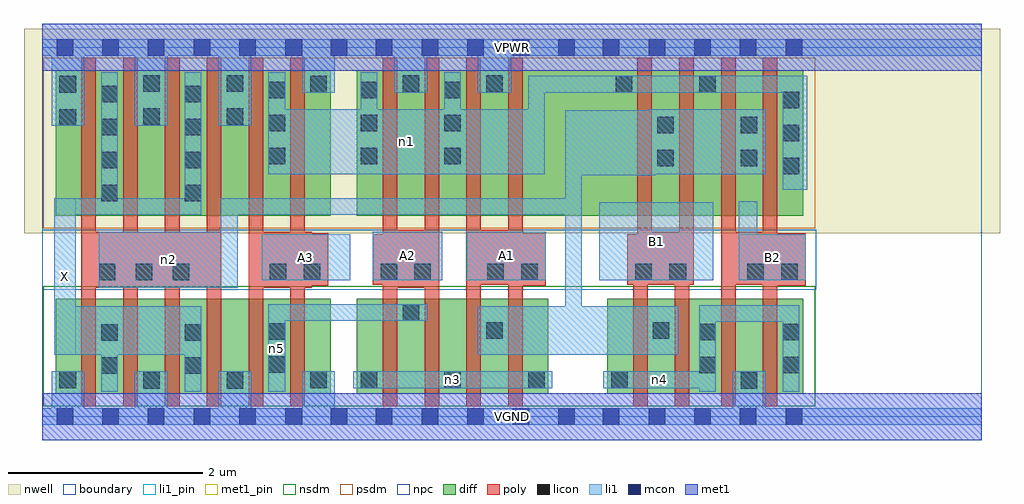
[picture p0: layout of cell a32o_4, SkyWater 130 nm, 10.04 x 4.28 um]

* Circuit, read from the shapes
.subckt a32o_4 A1 A2 A3 B1 B2 VGND VPWR X n1 n2 n3 n4 n5
XM1 X n2 VGND VSUBS sky130_fd_pr__nfet_01v8 w=0.98 l=0.15 m=4
XM2 n5 A3 VGND VSUBS sky130_fd_pr__nfet_01v8 w=0.98 l=0.15 m=2
XM3 n5 A2 n3 VSUBS sky130_fd_pr__nfet_01v8 w=0.98 l=0.15 m=2
XM4 n2 A1 n3 VSUBS sky130_fd_pr__nfet_01v8 w=0.98 l=0.15 m=2
XM5 n2 B1 n4 VSUBS sky130_fd_pr__nfet_01v8 w=0.98 l=0.15 m=2
XM6 VGND B2 n4 VSUBS sky130_fd_pr__nfet_01v8 w=0.98 l=0.15 m=2
XM7 X n2 VPWR n6 sky130_fd_pr__pfet_01v8 w=1.5 l=0.15 m=4
XM8 n1 A3 VPWR n6 sky130_fd_pr__pfet_01v8 w=1.5 l=0.15 m=2
XM9 VPWR A2 n1 n6 sky130_fd_pr__pfet_01v8 w=1.5 l=0.15 m=2
XM10 VPWR A1 n1 n6 sky130_fd_pr__pfet_01v8 w=1.5 l=0.15 m=2
XM11 n2 B1 n1 n6 sky130_fd_pr__pfet_01v8 w=1.5 l=0.15 m=2
XM12 n2 B2 n1 n6 sky130_fd_pr__pfet_01v8 w=1.5 l=0.15 m=2
.ends

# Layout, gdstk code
import gdstk
lib = gdstk.Library(unit=1e-6, precision=1e-09)
def R(c, l, rs):  # rectangles x0, y0, x1, y1
    for r in rs: c.add(gdstk.rectangle(r[:2], r[2:], *l))
def A(c, l, x, y, w, h, nx, ny, dx, dy):  # array of equal rectangles
    R(c, l, [(x+i*dx, y+j*dy, x+i*dx+w, y+j*dy+h) for i in range(nx) for j in range(ny)])
nwell = (64, 20)
diff = (65, 20)
poly = (66, 20)
licon = (66, 44)
li1_pin = (67, 16)
li1 = (67, 20)
mcon = (67, 44)
met1_pin = (68, 16)
met1 = (68, 20)
nsdm = (93, 44)
psdm = (94, 20)
npc = (95, 20)
boundary = (235, 4)

a32o_4 = lib.new_cell('a32o_4')
R(a32o_4, nwell, [(-0.19,1.885,9.85,3.99), (0,1.885,9.66,3.99)])
R(a32o_4, diff, [(0.135,0.235,2.965,1.215), (3.235,0.235,5.205,1.215), (5.81,0.235,7.825,1.215), (0.135,2.065,2.965,3.565), (3.235,2.065,7.825,3.565)])
A(a32o_4, poly, 0.4, 0.105, 0.15, 3.59, 6, 1, 0.43, 0)
A(a32o_4, poly, 3.5, 0.105, 0.15, 3.59, 4, 1, 0.43, 0)
R(a32o_4, poly, [(6.075,0.105,6.225,1.875), (6.505,0.105,6.55,1.905), (6.55,0.105,6.655,3.695), (6.98,0.105,7.13,3.695), (7.41,0.105,7.56,3.695), (0.4,1.325,1.84,1.905), (2.12,1.325,2.77,1.905), (3.5,1.325,4.08,1.925), (2.12,1.345,2.94,1.885), (4.79,1.345,5.175,1.885), (7.41,1.345,7.85,1.885), (3.395,1.355,4.08,1.875), (4.36,1.355,4.94,1.925), (6.015,1.355,6.7,1.875), (6.12,1.355,6.27,3.695), (6.12,1.355,6.7,1.905), (6.55,1.355,6.7,3.695), (6.98,1.355,7.56,1.905)])
A(a32o_4, licon, 3.275, 0.295, 0.17, 0.17, 3, 1, 0.86, 0)
A(a32o_4, licon, 0.58, 1.405, 0.17, 0.17, 3, 1, 0.38, 0)
A(a32o_4, licon, 0.605, 2.215, 0.17, 0.17, 1, 4, 0, 0.34)
A(a32o_4, licon, 1.465, 2.215, 0.17, 0.17, 1, 4, 0, 0.34)
A(a32o_4, licon, 7.615, 2.495, 0.17, 0.17, 1, 3, 0, 0.34)
A(a32o_4, licon, 2.325, 2.595, 0.17, 0.17, 1, 3, 0, 0.34)
A(a32o_4, licon, 3.275, 2.595, 0.17, 0.17, 1, 3, 0, 0.34)
A(a32o_4, licon, 4.135, 2.595, 0.17, 0.17, 1, 3, 0, 0.34)
R(a32o_4, licon, [(1.035,0.285,1.205,0.455), (1.895,0.285,2.065,0.455), (7.185,0.285,7.355,0.455), (0.175,0.295,0.345,0.465), (2.755,0.295,2.925,0.465), (5.85,0.295,6.02,0.465), (0.605,0.44,0.775,0.61), (1.465,0.44,1.635,0.61), (6.755,0.445,6.925,0.615), (7.615,0.445,7.785,0.615), (2.325,0.45,2.495,0.62), (0.605,0.78,0.775,0.95), (1.465,0.78,1.635,0.95), (6.755,0.785,6.925,0.955), (7.615,0.785,7.785,0.955), (2.325,0.79,2.495,0.96), (4.565,0.8,4.735,0.97), (6.28,0.8,6.45,0.97), (3.705,0.985,3.875,1.155), (2.34,1.405,2.51,1.575), (2.69,1.405,2.86,1.575), (3.48,1.405,3.65,1.575), (3.825,1.405,3.995,1.575), (4.575,1.405,4.745,1.575), (4.925,1.405,5.095,1.575), (6.1,1.405,6.27,1.575), (6.45,1.405,6.62,1.575), (7.25,1.405,7.42,1.575), (7.6,1.405,7.77,1.575), (6.325,2.575,6.495,2.745), (7.185,2.575,7.355,2.745), (6.325,2.915,6.495,3.085), (7.185,2.915,7.355,3.085), (0.175,2.995,0.345,3.165), (1.035,3.005,1.205,3.175), (1.895,3.005,2.065,3.175), (0.175,3.335,0.345,3.505), (2.755,3.335,2.925,3.505), (5.895,3.335,6.065,3.505), (6.755,3.335,6.925,3.505), (1.035,3.345,1.205,3.515), (1.895,3.345,2.065,3.515), (3.705,3.345,3.875,3.515), (4.565,3.345,4.735,3.515)])
R(a32o_4, li1_pin, [(0.12,0.635,0.34,2.245), (2.255,1.405,3.165,1.875), (3.395,1.405,4.11,1.905), (4.365,1.405,5.175,1.905), (5.73,1.405,6.9,2.205), (7.16,1.405,7.85,1.875)])
R(a32o_4, li1, [(0,-0.085,9.66,0.085), (0.095,-0.085,0.43,0.465), (0.95,-0.085,1.29,0.465), (1.81,-0.085,2.15,0.465), (2.67,-0.085,3.005,0.465), (7.1,-0.085,7.44,0.465), (0.605,0.255,0.775,1.135), (1.465,0.255,1.635,1.135), (2.325,0.255,2.495,1.155), (6.755,0.255,6.925,1.145), (7.615,0.255,7.785,1.145), (3.195,0.295,5.245,0.465), (5.77,0.295,6.925,0.465), (0.12,0.635,1.635,1.135), (0.12,0.635,0.34,2.245), (4.48,0.635,6.54,1.135), (5.38,0.635,5.55,3.155), (6.755,0.975,7.785,1.145), (2.325,0.985,3.96,1.155), (0.58,1.325,2.01,1.905), (1.835,1.325,2.01,2.245), (2.255,1.405,3.165,1.875), (3.395,1.405,4.11,1.905), (4.365,1.405,5.175,1.905), (5.73,1.405,6.9,2.205), (7.16,1.405,7.85,1.875), (7.16,1.405,7.355,2.215), (0.12,2.075,1.635,2.245), (0.605,2.075,0.775,3.545), (1.465,2.075,1.635,3.545), (1.835,2.075,5.55,2.245), (7.615,2.335,7.865,3.505), (5.38,2.485,6.31,2.495), (2.325,2.495,5.165,3.165), (2.325,2.495,2.495,3.545), (3.275,2.495,3.445,3.545), (4.135,2.495,4.305,3.545), (4.995,2.495,5.165,3.505), (5.38,2.495,7.44,3.155), (6.24,2.495,7.44,3.165), (0.095,2.995,0.43,3.885), (0.95,2.995,1.29,3.885), (1.81,2.995,2.15,3.885), (2.67,3.335,3.005,3.885), (3.62,3.335,3.96,3.885), (4.48,3.335,4.82,3.885), (4.995,3.335,7.865,3.505), (0,3.715,9.66,3.885)])
A(a32o_4, mcon, 0.145, -0.085, 0.17, 0.17, 5, 2, 0.47, 3.8)
A(a32o_4, mcon, 2.5, -0.085, 0.17, 0.17, 3, 2, 0.465, 3.8)
A(a32o_4, mcon, 3.9, -0.085, 0.17, 0.17, 3, 2, 0.47, 3.8)
A(a32o_4, mcon, 5.765, -0.085, 0.17, 0.17, 5, 2, 0.47, 3.8)
R(a32o_4, mcon, [(5.305,-0.085,5.475,0.085), (5.305,3.715,5.475,3.885)])
R(a32o_4, met1_pin, [(0,-0.24,9.66,0.24), (0,3.56,9.66,4.04)])
R(a32o_4, met1, [(0,-0.24,9.66,0.24), (0,3.56,9.66,4.04)])
R(a32o_4, nsdm, [(0.01,0.11,7.95,1.34)])
R(a32o_4, psdm, [(0.01,1.94,7.95,3.69)])
R(a32o_4, npc, [(0,1.305,7.96,1.925)])
R(a32o_4, boundary, [(0,0,9.66,3.8)])
a32o_4.add(gdstk.Label('A1', (4.77,1.655), layer=67, texttype=5))
a32o_4.add(gdstk.Label('A2', (3.752,1.655), layer=67, texttype=5))
a32o_4.add(gdstk.Label('A3', (2.71,1.64), layer=67, texttype=5))
a32o_4.add(gdstk.Label('B1', (6.315,1.805), layer=67, texttype=5))
a32o_4.add(gdstk.Label('B2', (7.505,1.64), layer=67, texttype=5))
a32o_4.add(gdstk.Label('X', (0.23,1.44), layer=67, texttype=5))
a32o_4.add(gdstk.Label('n3', (4.22,0.38), layer=67, texttype=5))
a32o_4.add(gdstk.Label('n4', (6.347,0.38), layer=67, texttype=5))
a32o_4.add(gdstk.Label('n5', (2.41,0.705), layer=67, texttype=5))
a32o_4.add(gdstk.Label('n2', (1.295,1.615), layer=67, texttype=5))
a32o_4.add(gdstk.Label('n1', (3.745,2.83), layer=67, texttype=5))
a32o_4.add(gdstk.Label('VPWR', (4.83,3.8), layer=68, texttype=5))
a32o_4.add(gdstk.Label('VGND', (4.83,0), layer=68, texttype=5))
a32o_4.add(gdstk.Label('A1', (4.77,1.655), layer=67, texttype=16))
a32o_4.add(gdstk.Label('A2', (3.752,1.655), layer=67, texttype=16))
a32o_4.add(gdstk.Label('A3', (2.71,1.64), layer=67, texttype=16))
a32o_4.add(gdstk.Label('B1', (6.315,1.805), layer=67, texttype=16))
a32o_4.add(gdstk.Label('B2', (7.505,1.64), layer=67, texttype=16))
a32o_4.add(gdstk.Label('X', (0.23,1.44), layer=67, texttype=16))
a32o_4.add(gdstk.Label('VPWR', (4.83,3.8), layer=68, texttype=16))
a32o_4.add(gdstk.Label('VGND', (4.83,0), layer=68, texttype=16))

lib.write_gds('a32o_4.gds')
